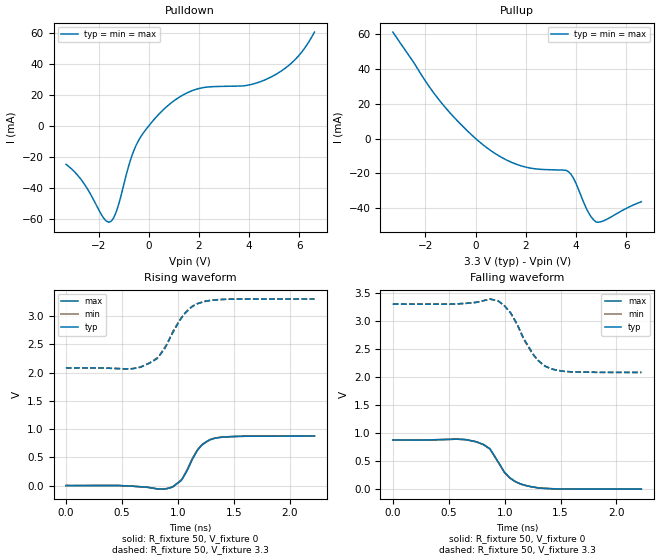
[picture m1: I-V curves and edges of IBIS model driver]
| IBIS file ex2_weak_tr10ps.ibs created by PYS2IBIS3
| Missouri S&T EMC Lab
[IBIS Ver] 7.1
[File Name] ex2_weak_tr10ps.ibs
[File Rev] 1.0
[Date] July 28, 2026
[Source] ex2 variant 'weak' -- output stage at half width
[Notes] Parameter selection; sim_time=2.222e-09, tr=tf=1.000e-11.
[Disclaimer] Experimental characterization for pybis observability study.
[Component] MCM Driver 1
[Manufacturer] MegaFLOPS Inc.
[Package]
| variable   typ   min   max
R_pkg 0 NA NA
L_pkg 0H NA NA
C_pkg 0F NA NA
[Pin]  signal_name   model_name   R_pin   L_pin   C_pin
vdd   vdd   POWER
gnd   gnd   GND
| in in dummy
out   out   driver
| End of Component
| Models and submodels in the file (1): driver (Output)
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[Model] driver
Model_type Output
Polarity Non-Inverting
Enable Active-Low
Vinl  = 0.8V
Vinh  = 2V
C_comp 5.0000pF 5.0000pF 5.0000pF
[Temperature Range] 27.0000 27.0000 27.0000
[Voltage Range] 3.3000V 3.3000V 3.3000V
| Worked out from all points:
|   slope of the pulldown table from 0 to 0.495 V, typ, clamps not added: 54.7 ohm
|   slope of the pullup table from 0 to 0.495 V, typ, clamps not added: 85.1 ohm
|   rising waveform, R_fixture 50, V_fixture 0: 20-80 % time 150ps typ, 151ps min, 151ps max; typ from 0 V to 0.876 V
|   rising waveform, R_fixture 50, V_fixture 3.3: 20-80 % time 224ps typ, 221ps min, 221ps max; typ from 2.08 V to 3.3 V
|   falling waveform, R_fixture 50, V_fixture 0: 20-80 % time 192ps typ, 190ps min, 190ps max; typ from 0.876 V to 0 V
|   falling waveform, R_fixture 50, V_fixture 3.3: 20-80 % time 208ps typ, 208ps min, 208ps max; typ from 3.3 V to 2.08 V
[Pulldown]
| Voltage   I(typ)   I(min)   I(max)
-3.3V     -24.71mA   -24.71mA   -24.71mA
-2.6V     -36.69mA   -36.69mA   -36.69mA
-1.8V     -59.35mA   -59.35mA   -59.35mA
-1.5V     -61.44mA   -61.44mA   -61.44mA
-1.3V     -55.57mA   -55.57mA   -55.57mA
-500mV    -12.32mA   -12.32mA   -12.32mA
600mV     10.7mA     10.7mA     10.7mA
1.9V      23.61mA    23.61mA    23.61mA
3.9V      26.05mA    26.05mA    26.05mA
4.9V      31.7mA     31.7mA     31.7mA
5.9V      43.88mA    43.88mA    43.88mA
6.6V      60.38mA    60.38mA    60.38mA
[Pullup]
| Voltage   I(typ)   I(min)   I(max)
-3.3V     61.37mA    61.37mA    61.37mA
-1.9V     30.97mA    30.97mA    30.97mA
-1.3V     19.49mA    19.49mA    19.49mA
-200mV    2.648mA    2.648mA    2.648mA
700mV     -7.897mA   -7.897mA   -7.897mA
2V        -16.47mA   -16.47mA   -16.47mA
3.7V      -19.09mA   -19.09mA   -19.09mA
3.9V      -22.93mA   -22.93mA   -22.93mA
4.5V      -42.81mA   -42.81mA   -42.81mA
4.8V      -48.13mA   -48.13mA   -48.13mA
5.1V      -47.39mA   -47.39mA   -47.39mA
6.6V      -36.41mA   -36.41mA   -36.41mA
[Ramp]
| variable   typ   min   max
dV/dt_r 0.5258/0.1501n 0.5258/0.1508n 0.5258/0.1508n
dV/dt_f 0.7308/0.208n 0.7308/0.2078n 0.7308/0.2078n
R_load = 50
[Rising Waveform]
R_fixture = 50
V_fixture = 0
|time   V(typ)   V(min)   V(max)
0s        5.892nV    5.892nV    5.892nV
462.7ps   2.039mV    1.116mV    1.116mV
903.1ps   -52.86mV   -54.27mV   -54.27mV
961ps     -10.12mV   -17.4mV    -17.4mV
1.03ns    84.92mV    97.27mV    97.27mV
1.179ns   628.5mV    639.7mV    639.7mV
1.212ns   710.3mV    714.3mV    714.3mV
1.292ns   811.7mV    817.9mV    817.9mV
1.522ns   870.1mV    869.9mV    869.9mV
2.222ns   876.3mV    876.3mV    876.3mV
[Rising Waveform]
R_fixture = 50
V_fixture = 3.3
|time   V(typ)   V(min)   V(max)
0s        2.081V     2.081V     2.081V
593.9ps   2.068V     2.068V     2.068V
731.9ps   2.15V      2.153V     2.153V
825.3ps   2.273V     2.27V      2.27V
880.9ps   2.41V      2.433V     2.433V
1.012ns   2.905V     2.912V     2.912V
1.068ns   3.053V     3.062V     3.062V
1.157ns   3.199V     3.201V     3.201V
1.241ns   3.258V     3.261V     3.261V
2.222ns   3.3V       3.3V       3.3V
[Falling Waveform]
R_fixture = 50
V_fixture = 0
|time   V(typ)   V(min)   V(max)
0s        876.4mV    876.4mV    876.4mV
576.1ps   890.4mV    891.7mV    891.7mV
743ps     847.4mV    846.9mV    846.9mV
865.3ps   727.4mV    719.8mV    719.8mV
994.3ps   313.3mV    306.6mV    306.6mV
1.043ns   208.5mV    204mV      204mV
1.139ns   95.52mV    93.66mV    93.66mV
1.203ns   57.7mV     56.45mV    56.45mV
1.464ns   4.778mV    5.026mV    5.026mV
2.222ns   19.77uV    17.78uV    17.78uV
[Falling Waveform]
R_fixture = 50
V_fixture = 3.3
|time   V(typ)   V(min)   V(max)
0s        3.3V       3.3V       3.3V
578.4ps   3.304V     3.304V     3.304V
872ps     3.386V     3.39V      3.39V
938.7ps   3.362V     3.357V     3.357V
1.054ns   3.144V     3.135V     3.135V
1.168ns   2.697V     2.688V     2.688V
1.248ns   2.431V     2.417V     2.417V
1.366ns   2.189V     2.19V      2.19V
1.53ns    2.103V     2.1V       2.1V
2.222ns   2.082V     2.082V     2.082V
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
